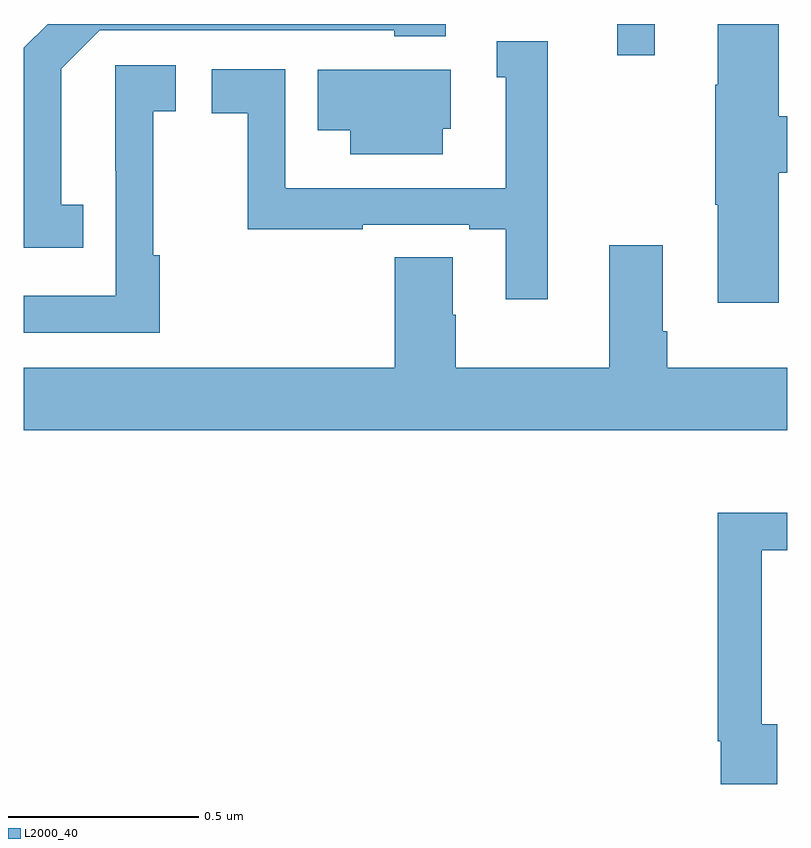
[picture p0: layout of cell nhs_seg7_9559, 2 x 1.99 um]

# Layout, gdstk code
import gdstk
lib = gdstk.Library(unit=1e-6, precision=1e-09)
def R(c, l, rs):  # rectangles x0, y0, x1, y1
    for r in rs: c.add(gdstk.rectangle(r[:2], r[2:], *l))
def P(c, l, *ps):  # polygons
    for p in ps: c.add(gdstk.Polygon(p, *l))
L2000_40 = (2000, 40)

nhs_seg7_9559 = lib.new_cell('nhs_seg7_9559')
R(nhs_seg7_9559, L2000_40, [(240.555,1014.918,240.652,1015)])
P(nhs_seg7_9559, L2000_40, [(239.156,1014.527),(239.098,1014.527),(239.098,1014.883),(239.199,1014.984),(239.97,1014.984),(239.97,1014.968),(240.106,1014.968),(240.106,1015),(239.063,1015),(239.001,1014.938),(239.001,1014.414),(239.156,1014.414)],
  [(240.977,1014.611),(241,1014.611),(241,1014.758),(240.977,1014.758),(240.977,1015),(240.818,1015),(240.818,1014.841),(240.811,1014.841),(240.811,1014.527),(240.818,1014.527),(240.818,1014.27),(240.977,1014.27)],
  [(240.373,1014.955),(240.239,1014.955),(240.239,1014.861),(240.263,1014.861),(240.263,1014.57),(239.686,1014.57),(239.686,1014.571),(239.685,1014.571),(239.685,1014.882),(239.493,1014.882),(239.493,1014.766),(239.587,1014.766),(239.587,1014.462),(239.888,1014.462),(239.888,1014.474),(240.167,1014.474),(240.167,1014.462),(240.263,1014.462),(240.263,1014.279),(240.373,1014.279)],
  [(239.357,1014.395),(239.34,1014.395),(239.34,1014.771),(239.398,1014.771),(239.398,1014.892),(239.24,1014.892),(239.24,1014.616),(239.241,1014.616),(239.241,1014.288),(239,1014.288),(239,1014.192),(239.357,1014.192)],
  [(240.097,1014.726),(240.118,1014.726),(240.118,1014.88),(239.77,1014.88),(239.77,1014.722),(239.855,1014.722),(239.855,1014.659),(240.097,1014.659)],
  [(241,1014.1),(240.686,1014.1),(240.686,1014.196),(240.673,1014.196),(240.673,1014.421),(240.533,1014.421),(240.533,1014.1),(240.132,1014.1),(240.132,1014.239),(240.124,1014.239),(240.124,1014.389),(239.972,1014.389),(239.972,1014.1),(239,1014.1),(239,1013.936),(241,1013.936)],
  [(240.973,1013.166),(240.933,1013.166),(240.933,1013.622),(241,1013.622),(241,1013.72),(240.817,1013.72),(240.817,1013.122),(240.825,1013.122),(240.825,1013.01),(240.973,1013.01)])

lib.write_gds('nhs_seg7_9559.gds')
